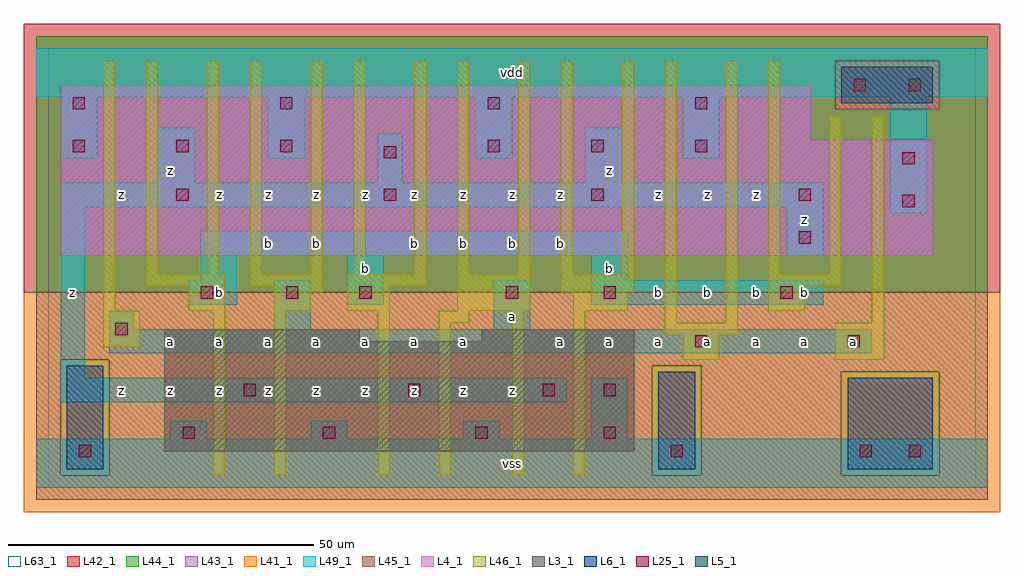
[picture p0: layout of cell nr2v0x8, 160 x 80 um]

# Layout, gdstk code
import gdstk
lib = gdstk.Library(unit=1e-6, precision=1e-09)
def R(c, l, rs):  # rectangles x0, y0, x1, y1
    for r in rs: c.add(gdstk.rectangle(r[:2], r[2:], *l))
def A(c, l, x, y, w, h, nx, ny, dx, dy):  # array of equal rectangles
    R(c, l, [(x+i*dx, y+j*dy, x+i*dx+w, y+j*dy+h) for i in range(nx) for j in range(ny)])
L3_1 = (3, 1)
L4_1 = (4, 1)
L5_1 = (5, 1)
L6_1 = (6, 1)
L25_1 = (25, 1)
L41_1 = (41, 1)
L42_1 = (42, 1)
L43_1 = (43, 1)
L44_1 = (44, 1)
L45_1 = (45, 1)
L46_1 = (46, 1)
L49_1 = (49, 1)
L63_1 = (63, 1)

nr2v0x8 = lib.new_cell('nr2v0x8')
R(nr2v0x8, L3_1, [(19,6,96,24), (19,24,51,26), (71,24,96,26)])
R(nr2v0x8, L4_1, [(2,38,145,57), (2,57,125,66)])
R(nr2v0x8, L5_1, [(130,63,145,69)])
R(nr2v0x8, L6_1, [(3,3,9,20), (3,3,9,20), (100,3,106,19), (100,3,106,19), (131,3,145,18), (131,3,145,18)])
A(nr2v0x8, L25_1, 21, 47, 2, 2, 4, 1, 34, 0)
A(nr2v0x8, L25_1, 4, 55, 2, 2, 3, 1, 17, 0)
A(nr2v0x8, L25_1, 72, 55, 2, 2, 3, 1, 17, 0)
A(nr2v0x8, L25_1, 4, 62, 2, 2, 4, 1, 34, 0)
R(nr2v0x8, L25_1, [(5,5,7,7), (102,5,104,7), (133,5,135,7), (141,5,143,7), (22,8,24,10), (45,8,47,10), (70,8,72,10), (91,8,93,10), (32,15,34,17), (59,15,61,17), (81,15,83,17), (91,15,93,17), (106,23,108,25), (131,23,133,25), (11,25,13,27), (25,31,27,33), (39,31,41,33), (51,31,53,33), (75,31,77,33), (91,31,93,33), (120,31,122,33), (123,40,125,42), (140,46,142,48), (140,53,142,55), (55,54,57,56), (132,65,134,67), (141,65,143,67)])
R(nr2v0x8, L41_1, [(-4,-4,156,32)])
R(nr2v0x8, L42_1, [(-4,32,156,76)])
R(nr2v0x8, L43_1, [(3,3,9,20), (100,3,106,19), (131,3,145,18), (19,6,96,24), (19,24,51,26), (71,24,96,26), (2,38,145,57), (2,57,125,66), (130,63,145,69)])
R(nr2v0x8, L44_1, [(2,2,10,21), (99,2,107,20), (130,2,146,19), (-2,32,154,62), (-2,62,129,70), (146,62,154,70), (-2,70,154,74)])
R(nr2v0x8, L45_1, [(-2,-2,154,2), (-2,2,2,21), (10,2,99,20), (107,2,130,19), (146,2,154,19), (107,19,154,20), (10,20,154,21), (-2,21,154,32), (129,62,146,70)])
R(nr2v0x8, L46_1, [(27,2,29,29), (37,2,39,29), (54,2,56,29), (64,2,66,27), (76,2,78,29), (86,2,88,29), (104,21,110,25), (129,21,137,27), (9,23,15,29), (101,25,113,27), (64,27,69,29), (101,27,103,70), (111,27,113,70), (135,27,137,61), (9,29,11,70), (23,29,29,33), (37,29,43,32), (49,29,56,33), (67,29,79,35), (86,29,95,32), (118,29,124,33), (37,32,45,33), (84,32,96,35), (16,33,29,35), (33,33,45,35), (49,33,62,35), (118,33,130,35), (16,35,18,70), (26,35,28,70), (33,35,35,70), (43,35,45,70), (50,35,52,70), (60,35,62,70), (67,35,69,70), (77,35,79,70), (84,35,86,70), (94,35,96,70), (118,35,120,70), (128,35,130,61)])
A(nr2v0x8, L49_1, 2, 54, 6, 10, 4, 1, 34, 0)
R(nr2v0x8, L49_1, [(-2,0,154,8), (20,8,26,11), (43,8,49,11), (68,8,74,11), (89,8,95,18), (2,14,85,18), (2,18,6,46), (10,22,135,26), (10,26,14,29), (37,26,43,34), (73,26,79,34), (23,30,31,34), (49,30,55,38), (89,30,127,34), (25,34,31,38), (89,34,95,38), (25,38,95,42), (121,38,127,46), (138,45,144,64), (2,46,127,50), (18,50,24,59), (54,50,58,58), (88,50,94,59), (-2,64,154,72)])
R(nr2v0x8, L63_1, [(0,0,152,72)])
nr2v0x8.add(gdstk.Label('z', (12,16), layer=49, texttype=1))
nr2v0x8.add(gdstk.Label('z', (20,16), layer=49, texttype=1))
nr2v0x8.add(gdstk.Label('a', (20,24), layer=49, texttype=1))
nr2v0x8.add(gdstk.Label('z', (4,32), layer=49, texttype=1))
nr2v0x8.add(gdstk.Label('z', (12,48), layer=49, texttype=1))
nr2v0x8.add(gdstk.Label('z', (20,52), layer=49, texttype=1))
nr2v0x8.add(gdstk.Label('z', (28,16), layer=49, texttype=1))
nr2v0x8.add(gdstk.Label('z', (36,16), layer=49, texttype=1))
nr2v0x8.add(gdstk.Label('z', (44,16), layer=49, texttype=1))
nr2v0x8.add(gdstk.Label('a', (28,24), layer=49, texttype=1))
nr2v0x8.add(gdstk.Label('a', (36,24), layer=49, texttype=1))
nr2v0x8.add(gdstk.Label('a', (44,24), layer=49, texttype=1))
nr2v0x8.add(gdstk.Label('b', (28,32), layer=49, texttype=1))
nr2v0x8.add(gdstk.Label('b', (36,40), layer=49, texttype=1))
nr2v0x8.add(gdstk.Label('b', (44,40), layer=49, texttype=1))
nr2v0x8.add(gdstk.Label('z', (28,48), layer=49, texttype=1))
nr2v0x8.add(gdstk.Label('z', (36,48), layer=49, texttype=1))
nr2v0x8.add(gdstk.Label('z', (44,48), layer=49, texttype=1))
nr2v0x8.add(gdstk.Label('z', (52,16), layer=49, texttype=1))
nr2v0x8.add(gdstk.Label('z', (60,16), layer=49, texttype=1))
nr2v0x8.add(gdstk.Label('z', (68,16), layer=49, texttype=1))
nr2v0x8.add(gdstk.Label('a', (60,24), layer=49, texttype=1))
nr2v0x8.add(gdstk.Label('a', (68,24), layer=49, texttype=1))
nr2v0x8.add(gdstk.Label('a', (52,24), layer=49, texttype=1))
nr2v0x8.add(gdstk.Label('b', (60,40), layer=49, texttype=1))
nr2v0x8.add(gdstk.Label('b', (68,40), layer=49, texttype=1))
nr2v0x8.add(gdstk.Label('b', (52,36), layer=49, texttype=1))
nr2v0x8.add(gdstk.Label('z', (60,48), layer=49, texttype=1))
nr2v0x8.add(gdstk.Label('z', (68,48), layer=49, texttype=1))
nr2v0x8.add(gdstk.Label('z', (52,48), layer=49, texttype=1))
nr2v0x8.add(gdstk.Label('vss', (76,4), layer=49, texttype=1))
nr2v0x8.add(gdstk.Label('z', (76,16), layer=49, texttype=1))
nr2v0x8.add(gdstk.Label('a', (84,24), layer=49, texttype=1))
nr2v0x8.add(gdstk.Label('a', (92,24), layer=49, texttype=1))
nr2v0x8.add(gdstk.Label('a', (100,24), layer=49, texttype=1))
nr2v0x8.add(gdstk.Label('a', (76,28), layer=49, texttype=1))
nr2v0x8.add(gdstk.Label('b', (100,32), layer=49, texttype=1))
nr2v0x8.add(gdstk.Label('b', (84,40), layer=49, texttype=1))
nr2v0x8.add(gdstk.Label('b', (92,36), layer=49, texttype=1))
nr2v0x8.add(gdstk.Label('b', (76,40), layer=49, texttype=1))
nr2v0x8.add(gdstk.Label('z', (84,48), layer=49, texttype=1))
nr2v0x8.add(gdstk.Label('z', (100,48), layer=49, texttype=1))
nr2v0x8.add(gdstk.Label('z', (92,52), layer=49, texttype=1))
nr2v0x8.add(gdstk.Label('z', (76,48), layer=49, texttype=1))
nr2v0x8.add(gdstk.Label('vdd', (76,68), layer=49, texttype=1))
nr2v0x8.add(gdstk.Label('a', (108,24), layer=49, texttype=1))
nr2v0x8.add(gdstk.Label('a', (116,24), layer=49, texttype=1))
nr2v0x8.add(gdstk.Label('a', (124,24), layer=49, texttype=1))
nr2v0x8.add(gdstk.Label('b', (124,32), layer=49, texttype=1))
nr2v0x8.add(gdstk.Label('b', (108,32), layer=49, texttype=1))
nr2v0x8.add(gdstk.Label('b', (116,32), layer=49, texttype=1))
nr2v0x8.add(gdstk.Label('z', (124,44), layer=49, texttype=1))
nr2v0x8.add(gdstk.Label('z', (108,48), layer=49, texttype=1))
nr2v0x8.add(gdstk.Label('z', (116,48), layer=49, texttype=1))
nr2v0x8.add(gdstk.Label('a', (132,24), layer=49, texttype=1))

lib.write_gds('nr2v0x8.gds')
